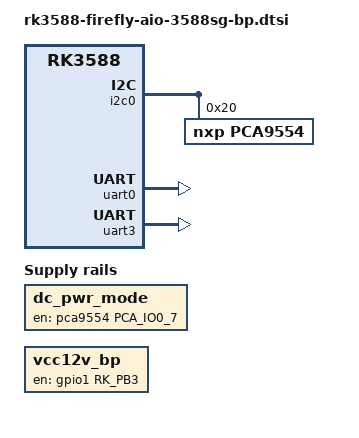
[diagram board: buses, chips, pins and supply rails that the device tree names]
// SPDX-License-Identifier: (GPL-2.0+ OR MIT)
/*
 * Copyright (c) 2023 Rockchip Electronics Co., Ltd.
 *
 */

#if defined(FF_LVDS) && !defined(FF_DSI1)
#include "rk3588-firefly-aio-3588sg-lvds10.1-DM-M10R800.dtsi"
#endif

#include "rk3588-firefly-aio-3588sg-dcphy-cam-8ms1m.dtsi"

/ {
	dc_pwr_mode: dc-pwr-mode {
		status = "okay";
		compatible = "regulator-fixed";
		regulator-name = "dc_pwr_mode";
		regulator-boot-on;
		regulator-always-on;
		enable-active-high;
		gpio = <&pca9554 PCA_IO0_7 GPIO_ACTIVE_HIGH>;
	};

	vcc12v_bp: vcc12v-bp {
		status = "okay";
		compatible = "regulator-fixed";
		regulator-name = "vcc12v_bp";
		regulator-boot-on;
		regulator-always-on;
		enable-active-high;
		gpio = <&gpio1 RK_PB3 GPIO_ACTIVE_HIGH>;
	};
};

&i2c0 {
	status = "okay";
	pinctrl-0 = <&i2c0m2_xfer>;

	pca9554: pca9554@20 {
		status = "okay";
		compatible = "nxp,pca9554";
		reg = <0x20>;
		gpio-controller;
		#gpio-cells = <2>;
		gpio-group-num = <180>;
	};
};

&uart0 {
	status = "okay";
	pinctrl-names = "default";
	pinctrl-0 = <&uart0m2_xfer>;
};

&uart3 {
	status = "okay";
	pinctrl-names = "default";
	pinctrl-0 = <&uart3m2_xfer>;
};
